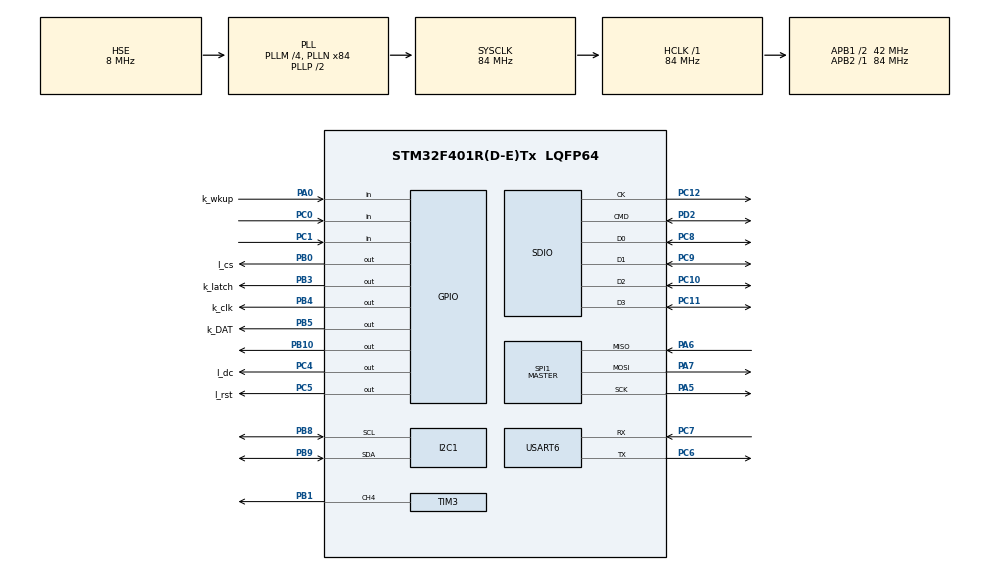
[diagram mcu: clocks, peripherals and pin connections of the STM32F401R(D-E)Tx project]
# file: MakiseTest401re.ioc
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Dma.MEMTOMEM.1.Direction=DMA_MEMORY_TO_MEMORY
Dma.MEMTOMEM.1.FIFOMode=DMA_FIFOMODE_ENABLE
Dma.MEMTOMEM.1.FIFOThreshold=DMA_FIFO_THRESHOLD_FULL
Dma.MEMTOMEM.1.Instance=DMA2_Stream0
Dma.MEMTOMEM.1.MemBurst=DMA_MBURST_SINGLE
Dma.MEMTOMEM.1.MemDataAlignment=DMA_MDATAALIGN_BYTE
Dma.MEMTOMEM.1.MemInc=DMA_MINC_ENABLE
Dma.MEMTOMEM.1.Mode=DMA_NORMAL
Dma.MEMTOMEM.1.PeriphBurst=DMA_PBURST_SINGLE
Dma.MEMTOMEM.1.PeriphDataAlignment=DMA_PDATAALIGN_BYTE
Dma.MEMTOMEM.1.PeriphInc=DMA_PINC_DISABLE
Dma.MEMTOMEM.1.Priority=DMA_PRIORITY_LOW
Dma.Request0=SPI1_TX
Dma.Request1=MEMTOMEM
Dma.SPI1_TX.0.Direction=DMA_MEMORY_TO_PERIPH
Dma.SPI1_TX.0.FIFOMode=DMA_FIFOMODE_DISABLE
Dma.SPI1_TX.0.Instance=DMA2_Stream3
Dma.SPI1_TX.0.MemDataAlignment=DMA_MDATAALIGN_BYTE
Dma.SPI1_TX.0.MemInc=DMA_MINC_ENABLE
Dma.SPI1_TX.0.Mode=DMA_NORMAL
Dma.SPI1_TX.0.PeriphDataAlignment=DMA_PDATAALIGN_BYTE
Dma.SPI1_TX.0.PeriphInc=DMA_PINC_DISABLE
Dma.SPI1_TX.0.Priority=DMA_PRIORITY_LOW
I2C1.I2C_Mode=I2C_Fast
Mcu.Family=STM32F4
Mcu.Name=STM32F401R(D-E)Tx
Mcu.Package=LQFP64
NVIC.DMA2_Stream3_IRQn=true\:0\:0\:false\:false\:true
NVIC.PriorityGroup=NVIC_PRIORITYGROUP_4
PA0-WKUP.GPIO_Label=k_wkup
PA0-WKUP.Signal=GPIO_Input
PA13.Mode=Serial_Wire
PA13.Signal=SYS_JTMS-SWDIO
PA14.Mode=Serial_Wire
PA14.Signal=SYS_JTCK-SWCLK
PA5.Mode=Full_Duplex_Master
PA5.Signal=SPI1_SCK
PA6.Mode=Full_Duplex_Master
PA6.Signal=SPI1_MISO
PA7.Mode=Full_Duplex_Master
PA7.Signal=SPI1_MOSI
PB0.GPIO_Label=l_cs
PB0.Signal=GPIO_Output
PB1.Signal=S_TIM3_CH4
PB10.Signal=GPIO_Output
PB3.GPIO_Label=k_latch
PB3.Signal=GPIO_Output
PB4.GPIO_Label=k_clk
PB4.Signal=GPIO_Output
PB5.GPIO_Label=k_DAT
PB5.Signal=GPIO_Output
PB8.Mode=I2C
PB8.Signal=I2C1_SCL
PB9.Mode=I2C
PB9.Signal=I2C1_SDA
PC0.Signal=GPIO_Input
PC1.Signal=GPIO_Input
PC10.Mode=SD_4_bits_Wide_bus
PC10.Signal=SDIO_D2
PC11.Mode=SD_4_bits_Wide_bus
PC11.Signal=SDIO_D3
PC12.Mode=SD_4_bits_Wide_bus
PC12.Signal=SDIO_CK
PC4.GPIO_Label=l_dc
PC4.Signal=GPIO_Output
PC5.GPIO_Label=l_rst
PC5.Signal=GPIO_Output
PC6.Mode=Asynchronous
PC6.Signal=USART6_TX
PC7.Mode=Asynchronous
PC7.Signal=USART6_RX
PC8.Mode=SD_4_bits_Wide_bus
PC8.Signal=SDIO_D0
PC9.Mode=SD_4_bits_Wide_bus
PC9.Signal=SDIO_D1
PD2.Mode=SD_4_bits_Wide_bus
PD2.Signal=SDIO_CMD
PH0\ -\ OSC_IN.Mode=HSE-External-Oscillator
PH0\ -\ OSC_IN.Signal=RCC_OSC_IN
PH1\ -\ OSC_OUT.Mode=HSE-External-Oscillator
PH1\ -\ OSC_OUT.Signal=RCC_OSC_OUT
ProjectManager.HeapSize=0x4000
ProjectManager.StackSize=0x4000
ProjectManager.TargetToolchain=SW4STM32
RCC.48MHZClocksFreq_Value=42000000
RCC.AHBFreq_Value=84000000
RCC.APB1CLKDivider=RCC_HCLK_DIV2
RCC.APB1Freq_Value=42000000
RCC.APB1TimFreq_Value=84000000
RCC.APB2Freq_Value=84000000
RCC.APB2TimFreq_Value=84000000
RCC.CortexFreq_Value=84000000
RCC.HCLKFreq_Value=84000000
RCC.HSE_VALUE=8000000
RCC.HSI_VALUE=16000000
RCC.LSE_VALUE=32768
RCC.PLLM=4
RCC.PLLN=84
RCC.PLLSourceVirtual=RCC_PLLSOURCE_HSE
RCC.SYSCLKFreq_VALUE=84000000
RCC.SYSCLKSource=RCC_SYSCLKSOURCE_PLLCLK
RCC.VCOOutputFreq_Value=168000000
SDIO.BusWide=SDIO_BUS_WIDE_1B
SDIO.ClockDiv=2
SDIO.WideMode=SDIO_BUS_WIDE_4B
SH.S_TIM3_CH4.0=TIM3_CH4,PWM Generation4 CH4
SPI1.Mode=SPI_MODE_MASTER
TIM3.Channel-PWM\ Generation4\ CH4=TIM_CHANNEL_4
TIM3.Period=16
TIM3.Prescaler=1
TIM3.Pulse-PWM\ Generation4\ CH4=15
VP_FATFS_VS_SDIO.Mode=SDIO
board=MakiseTest401re

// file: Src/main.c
/**
  ******************************************************************************
  * File Name          : main.c
  * Description        : Main program body
  ******************************************************************************
  *
  * Copyright (c) 2017 STMicroelectronics International N.V.
  * All rights reserved.
  *
  * Redistribution and use in source and binary forms, with or without
  * modification, are permitted, provided that the following conditions are met:
  *
  * 1. Redistribution of source code must retain the above copyright notice,
  *    this list of conditions and the following disclaimer.
  * 2. Redistributions in binary form must reproduce the above copyright notice,
  *    this list of conditions and the following disclaimer in the documentation
  *    and/or other materials provided with the distribution.
  * 3. Neither the name of STMicroelectronics nor the names of other
  *    contributors to this software may be used to endorse or promote products
  *    derived from this software without specific written permission.
  * 4. This software, including modifications and/or derivative works of this
  *    software, must execute solely and exclusively on microcontroller or
  *    microprocessor devices manufactured by or for STMicroelectronics.
  * 5. Redistribution and use of this software other than as permitted under
  *    this license is void and will automatically terminate your rights under
  *    this license.
  *
  * THIS SOFTWARE IS PROVIDED BY STMICROELECTRONICS AND CONTRIBUTORS "AS IS"
  * AND ANY EXPRESS, IMPLIED OR STATUTORY WARRANTIES, INCLUDING, BUT NOT
  * LIMITED TO, THE IMPLIED WARRANTIES OF MERCHANTABILITY, FITNESS FOR A
  * PARTICULAR PURPOSE AND NON-INFRINGEMENT OF THIRD PARTY INTELLECTUAL PROPERTY
  * RIGHTS ARE DISCLAIMED TO THE FULLEST EXTENT PERMITTED BY LAW. IN NO EVENT
  * SHALL STMICROELECTRONICS OR CONTRIBUTORS BE LIABLE FOR ANY DIRECT, INDIRECT,
  * INCIDENTAL, SPECIAL, EXEMPLARY, OR CONSEQUENTIAL DAMAGES (INCLUDING, BUT NOT
  * LIMITED TO, PROCUREMENT OF SUBSTITUTE GOODS OR SERVICES; LOSS OF USE, DATA,
  * OR PROFITS; OR BUSINESS INTERRUPTION) HOWEVER CAUSED AND ON ANY THEORY OF
  * LIABILITY, WHETHER IN CONTRACT, STRICT LIABILITY, OR TORT (INCLUDING
  * NEGLIGENCE OR OTHERWISE) ARISING IN ANY WAY OUT OF THE USE OF THIS SOFTWARE,
  * EVEN IF ADVISED OF THE POSSIBILITY OF SUCH DAMAGE.
  *
  ******************************************************************************
  */
#include "main.h"
#include "stm32f4xx_hal.h"
#include "dma.h"
#include "fatfs.h"
#include "i2c.h"
#include "sdio.h"
#include "spi.h"
#include "tim.h"
#include "usart.h"
#include "gpio.h"

/* USER CODE BEGIN Includes */
#include <stdio.h>
#include "ili9340.h"
#include "makise_test.h"
#include "makise_primitives.h"
#include <math.h>
#include <controls_595.h>
/* USER CODE END Includes */

/* USER CODE BEGIN PV */
/* Private variables ---------------------------------------------------------*/

/* USER CODE END PV */

void SystemClock_Config(void);
void Error_Handler(void);

/* USER CODE BEGIN PFP */
/* Private function prototypes -----------------------------------------------*/

/* USER CODE END PFP */

/* USER CODE BEGIN 0 */
#define      LSM303_CTRL0              0x1F
#define      LSM303_CTRL1              0x20
#define      LSM303_CTRL2              0x21
#define      LSM303_CTRL3              0x22
#define      LSM303_CTRL4              0x23
#define      LSM303_CTRL5              0x24
#define      LSM303_CTRL6              0x25
#define      LSM303_CTRL7              0x26
#define      LSM303_WHO_AM_I           0x0F
#define      LSM303_D_OUT_X_L_M        0x08
#define 	M_PI   3.14159265358979323846 /* pi */
uint8_t ReadRegister(uint8_t Register)
{
    uint8_t result = 0;
    HAL_I2C_Master_Transmit(&hi2c1, 0x3a, &Register, 1, 100);
    HAL_I2C_Master_Receive(&hi2c1, 0x3a, &result, 1, 100);

    return result;
}
void WriteRegister(uint8_t Register, uint8_t val)
{
    uint8_t d[] = {Register, val};
    HAL_I2C_Master_Transmit(&hi2c1, 0x3a, d, 2, 100);
}

float ang = 0;
void lsm303_read()
{
    uint8_t reg = LSM303_D_OUT_X_L_M | (1 << 7);
    HAL_I2C_Master_Transmit(&hi2c1, 0x3a, &reg, 1, 100);

    HAL_Delay(10);

    uint8_t r[6];
    HAL_I2C_Master_Receive(&hi2c1, 0x3a, r, 6, 100);

    int16_t x = (int16_t)(r[1] << 8 | r[0]);
    int16_t y = (int16_t)(r[3] << 8 | r[2]);
    int16_t z = (int16_t)(r[5] << 8 | r[4]);
    ang = atan2(y,x);
    //printf("c %04d %04d %04d %f\n", x, y, z, ang*180.0/M_PI);
}

MakiseGUI* mgui;
void _mt_d(MakiseGUI* gui)
{
//    HAL_GPIO_TogglePin(GPIOC, GPIO_PIN_1);
//    makise_d_clear(mgui->buffer, 0);
    //makise_d_circle_filled(mgui->buffer, 50, (HAL_GetTick() % 500)/2 + 50, 40, 1, 3);
    makise_d_line(mgui->buffer, 120, 160, cos(ang) * 100 + 120, sin(ang) * 100 + 160, 1);
    for (uint32_t i = 0; i < 16; i++) {

	makise_d_rect_filled(mgui->buffer, i * 10, 0, 10, 10, i, i);
    }

//    makise_d_string_frame(mgui->buffer, sample_string, MDTextAll, 20, 20, 200, 100, &F_Arial15, 3, MC_White);
//    makise_d_rect(mgui->buffer, 20, 20, 200, 100, MC_Green);

    //makise_d_string(mgui->buffer, "KEEEK", 100, 30, &F_Arial12, 2);
    makise_g_host_call(host, M_G_CALL_DRAW);
}

/* USER CODE END 0 */

int main(void)
{

  /* MCU Configuration----------------------------------------------------------*/

  /* Reset of all peripherals, Initializes the Flash interface and the Systick. */
  HAL_Init();

  /* Configure the system clock */
  SystemClock_Config();

  /* Initialize all configured peripherals */
  MX_GPIO_Init();
  MX_DMA_Init();
  MX_SDIO_SD_Init();
  MX_SPI1_Init();
  MX_TIM3_Init();
  MX_FATFS_Init();
  MX_USART6_UART_Init();
  MX_I2C1_Init();

  /* USER CODE BEGIN 2 */

  //WriteRegister(LSM303_CTRL2, 0x00);
  //WriteRegister(LSM303_CTRL1, 0x57);
  WriteRegister(LSM303_CTRL5, 0b01110000);
  WriteRegister(LSM303_CTRL6, 0x20);
  WriteRegister(LSM303_CTRL7, 0x00);

  printf("acc %d\n", ReadRegister(LSM303_WHO_AM_I));

//  controls_595_init(buttons, 4, outs, 4, &but_h);
  controls_595_update();

//  printf("%d\n", Arial_12_SymbolTable[4]);
  mgui = mt_start();
  mgui->draw = &_mt_d;
//  printf("%d\n", Arial_12_SymbolTable[2]);

  /* USER CODE END 2 */

  /* Infinite loop */
  /* USER CODE BEGIN WHILE */
  uint32_t c = 0;
  while (1)
  {
      c++;
//      if(c%5 == 0)
//	  lsm303_read();
      HAL_Delay(10);
      controls_595_update();

  /* USER CODE END WHILE */

  }

}

/** System Clock Configuration
*/
void SystemClock_Config(void)
{

  RCC_OscInitTypeDef RCC_OscInitStruct;
  RCC_ClkInitTypeDef RCC_ClkInitStruct;

    /**Configure the main internal regulator output voltage
    */
  __HAL_RCC_PWR_CLK_ENABLE();

  __HAL_PWR_VOLTAGESCALING_CONFIG(PWR_REGULATOR_VOLTAGE_SCALE2);

    /**Initializes the CPU, AHB and APB busses clocks
    */
  RCC_OscInitStruct.OscillatorType = RCC_OSCILLATORTYPE_HSE;
  RCC_OscInitStruct.HSEState = RCC_HSE_ON;
  RCC_OscInitStruct.PLL.PLLState = RCC_PLL_ON;
  RCC_OscInitStruct.PLL.PLLSource = RCC_PLLSOURCE_HSE;
  RCC_OscInitStruct.PLL.PLLM = 4;
  RCC_OscInitStruct.PLL.PLLN = 84;
  RCC_OscInitStruct.PLL.PLLP = RCC_PLLP_DIV2;
  RCC_OscInitStruct.PLL.PLLQ = 4;
  if (HAL_RCC_OscConfig(&RCC_OscInitStruct) != HAL_OK)
  {
    Error_Handler();
  }

    /**Initializes the CPU, AHB and APB busses clocks
    */
  RCC_ClkInitStruct.ClockType = RCC_CLOCKTYPE_HCLK|RCC_CLOCKTYPE_SYSCLK
                              |RCC_CLOCKTYPE_PCLK1|RCC_CLOCKTYPE_PCLK2;
  RCC_ClkInitStruct.SYSCLKSource = RCC_SYSCLKSOURCE_PLLCLK;
  RCC_ClkInitStruct.AHBCLKDivider = RCC_SYSCLK_DIV1;
  RCC_ClkInitStruct.APB1CLKDivider = RCC_HCLK_DIV2;
  RCC_ClkInitStruct.APB2CLKDivider = RCC_HCLK_DIV1;

  if (HAL_RCC_ClockConfig(&RCC_ClkInitStruct, FLASH_LATENCY_2) != HAL_OK)
  {
    Error_Handler();
  }

    /**Configure the Systick interrupt time
    */
  HAL_SYSTICK_Config(HAL_RCC_GetHCLKFreq()/1000);

    /**Configure the Systick
    */
  HAL_SYSTICK_CLKSourceConfig(SYSTICK_CLKSOURCE_HCLK);

  /* SysTick_IRQn interrupt configuration */
  HAL_NVIC_SetPriority(SysTick_IRQn, 0, 0);
}

void Error_Handler(void)
{
  while(1)
  {
  }
}

/************************ (C) COPYRIGHT STMicroelectronics *****END OF FILE****/
